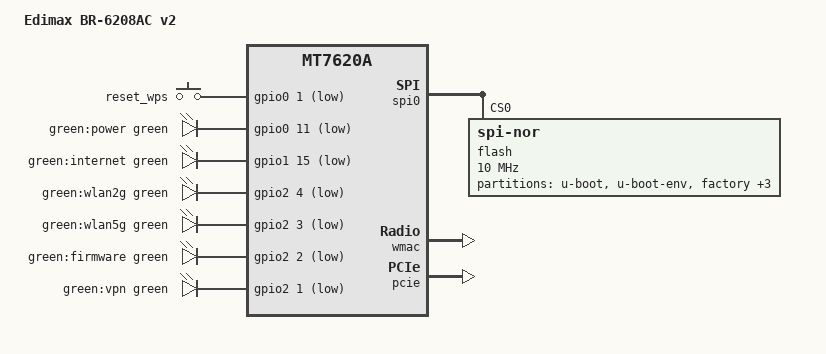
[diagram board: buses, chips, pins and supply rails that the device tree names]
// SPDX-License-Identifier: GPL-2.0-or-later
/*
 * Copyright (C) 2023 Stefan Weil <sw@weilnetz.de>
 */

#include "mt7620a.dtsi"

#include <dt-bindings/gpio/gpio.h>
#include <dt-bindings/input/input.h>
#include <dt-bindings/leds/common.h>
#include <dt-bindings/mtd/partitions/uimage.h>

/ {
	compatible = "edimax,br-6208ac-v2", "ralink,mt7620a-soc";
	model = "Edimax BR-6208AC v2";

	aliases {
		led-boot = &led_power;
		led-failsafe = &led_power;
		led-running = &led_power;
		led-upgrade = &led_firmware;
	};

	keys {
		compatible = "gpio-keys";

		// Vendor firmware: /proc/RESET_BUTTON
		reset_wps {
			label = "reset_wps";
			gpios = <&gpio0 1 GPIO_ACTIVE_LOW>;
			linux,code = <KEY_RESTART>;
		};
	};

	// Vendor firmware: /proc/driver/led
	leds {
		compatible = "gpio-leds";

		led_power: power {
			label = "green:power";
			color = <LED_COLOR_ID_GREEN>;
			function = LED_FUNCTION_POWER;
			gpios = <&gpio0 11 GPIO_ACTIVE_LOW>;
		};

		// RALINK_REG_PIO3924DATA 39-24
		led_internet: internet {
			label = "green:internet";
			color = <LED_COLOR_ID_GREEN>;
			gpios = <&gpio1 15 GPIO_ACTIVE_LOW>;
		};

		// RALINK_REG_PIO7140DATA 44-40
		led_wlan_2_4ghz: wlan_2_4ghz {
			label = "green:wlan2g";
			color = <LED_COLOR_ID_GREEN>;
			function = LED_FUNCTION_WLAN;
			gpios = <&gpio2 4 GPIO_ACTIVE_LOW>;
			linux,default-trigger = "phy1tpt";
		};

		// RALINK_REG_PIO7140DATA 43-40
		led_wlan_5ghz: wlan_5ghz {
			label = "green:wlan5g";
			color = <LED_COLOR_ID_GREEN>;
			function = LED_FUNCTION_WLAN;
			gpios = <&gpio2 3 GPIO_ACTIVE_LOW>;
			linux,default-trigger = "phy0tpt";
		};

		// RALINK_REG_PIO7140DATA 42-40
		led_firmware: firmware {
			label = "green:firmware";
			color = <LED_COLOR_ID_GREEN>;
			gpios = <&gpio2 2 GPIO_ACTIVE_LOW>;
			// default-state = "keep";
		};

		// RALINK_REG_PIO7140DATA 41-40
		led_vpn: vpn {
			label = "green:vpn";
			color = <LED_COLOR_ID_GREEN>;
			gpios = <&gpio2 1 GPIO_ACTIVE_LOW>;
		};
	};
};

&gdma {
	status = "okay";
};

// Vendor firmware: RALINK_REG_PIO7140 - gpio0: gpio@600
// Vendor firmware: RALINK_REG_PIO3924 - gpio1: gpio@638
// Vendor firmware: RALINK_REG_PIO7140 - gpio2: gpio@660
// Vendor firmware: RALINK_REG_PIO72   - gpio3: gpio@688

&gpio1 {
	status = "okay";
};

&gpio2 {
	status = "okay";
};

&spi0 {
	status = "okay";

	flash@0 {
		compatible = "jedec,spi-nor";
		reg = <0>;
		spi-max-frequency = <10000000>;

		partitions {
			compatible = "fixed-partitions";
			#address-cells = <1>;
			#size-cells = <1>;

			// Vendor partitions:
			// 0x000000000000-0x000000030000 : "Bootloader"
			// 0x000000030000-0x000000040000 : "Config"
			// 0x000000040000-0x000000050000 : "Factory"
			// 0x000000050000-0x000000070000 : "Cimage"
			// 0x000000070000-0x000000fe0000 : "Uimage"
			// 0x000000070000-0x000000190000 : "Kernel"
			// 0x000000190000-0x000000fe0000 : "RootFS"
			// 0x000000fe0000-0x000001000000 : "FreeSpace"

			// Bootloader
			partition@0 {
				label = "u-boot";
				reg = <0x0 0x30000>;
				read-only;
			};

			// Config
			partition@30000 {
				label = "u-boot-env";
				reg = <0x30000 0x10000>;
				read-only;
			};

			// Factory
			factory: partition@40000 {
				label = "factory";
				reg = <0x40000 0x10000>;
				read-only;
			};

			// Cimage
			partition@50000 {
				label = "cimage";
				reg = <0x50000 0x20000>;
				read-only;
			};

			partition@70000 {
				compatible = "openwrt,uimage", "denx,uimage";
				openwrt,offset = <FW_EDIMAX_OFFSET>;
				openwrt,partition-magic = <FW_MAGIC_EDIMAX>;
				label = "firmware";
				reg = <0x00070000 0x00f70000>;
			};

			// FreeSpace
			partition@fe0000 {
				label = "freespace";
				reg = <0xfe0000 0x20000>;
				read-only;
			};
		};
	};
};

&state_default {
	gpio {
		// TODO: "spi refclk"?
		groups = "i2c", "uartf", "rgmii1", "rgmii2", "ephy", "wled", "nd_sd";
		function = "gpio";
	};
};

&ethernet {
	nvmem-cells = <&macaddr_factory_2e>;
	nvmem-cell-names = "mac-address";

	mediatek,portmap = "llllw";
};

&wmac {
	ralink,mtd-eeprom = <&factory 0x0>;
};

&pcie {
	status = "okay";
};

&pcie0 {
	wifi@0,0 {
		reg = <0x0000 0 0 0 0>;
		mediatek,mtd-eeprom = <&factory 0x8000>;
		ieee80211-freq-limit = <5000000 6000000>;
	};
};

&factory {
	compatible = "nvmem-cells";
	#address-cells = <1>;
	#size-cells = <1>;

	macaddr_factory_4: macaddr@4 {
		reg = <0x4 0x6>;
	};

	macaddr_factory_2e: macaddr@2e {
		reg = <0x2e 0x6>;
	};
};
